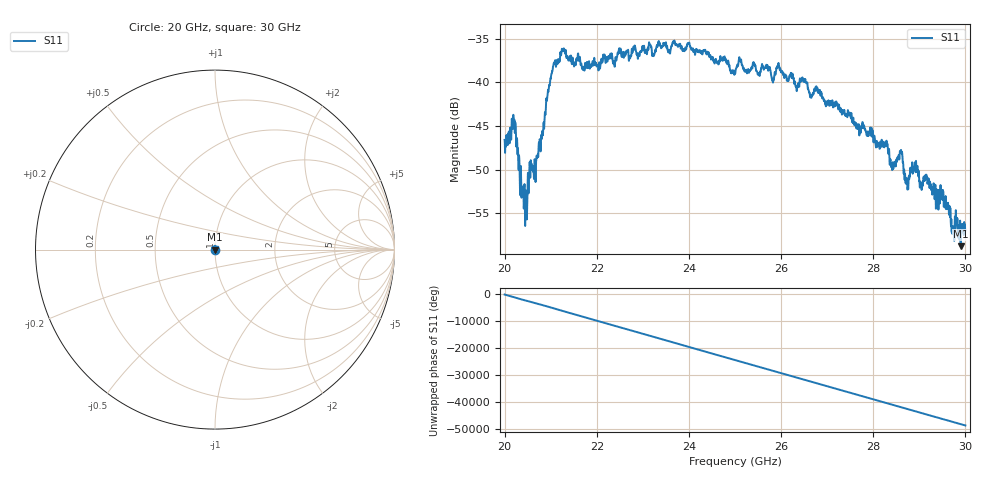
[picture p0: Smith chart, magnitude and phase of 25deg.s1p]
#  HZ  S  RI  R  50.00
! Rohde & Schwarz ZVA40 4Ports - Version 3.90 - 1145.1110k42 SN: 100403
! Date: 2023-10-03 10:32:00
! Measurement: S12
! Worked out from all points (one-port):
!   5001 points, 20 GHz to 30 GHz, reference 50 ohm
!   lowest |S11| = -58.8 dB at 29.9 GHz (marker M1), VSWR 1.00, Z = 49.9 - j0.0597 ohm
!   |S11| at or under -10 dB: start of sweep to end of sweep
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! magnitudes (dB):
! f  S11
! 20 GHz  -46.6
! 20.2 GHz  -44.5
! 20.37 GHz  -52.2
! 20.45 GHz  -55.2
! 20.55 GHz  -50.0
! 20.68 GHz  -49.1
! 21.04 GHz  -38.7
! 21.25 GHz  -36.3
! 21.72 GHz  -38.4
! 22.5 GHz  -36.5
! 23.75 GHz  -35.8
! 25 GHz  -38.9
! 25.12 GHz  -37.5
! 25.25 GHz  -38.6
! 26.25 GHz  -39.0
! 27.5 GHz  -43.8
! 28.27 GHz  -47.3
! 28.4 GHz  -49.5
! 28.6 GHz  -47.9
! 28.75 GHz  -52.0
! 28.92 GHz  -49.9
! 29.04 GHz  -51.8
! 29.16 GHz  -50.7
! 29.37 GHz  -52.4
! 29.5 GHz  -53.1
! 29.72 GHz  -56.7
! 29.9 GHz  -58.8
! 30 GHz  -57.0
